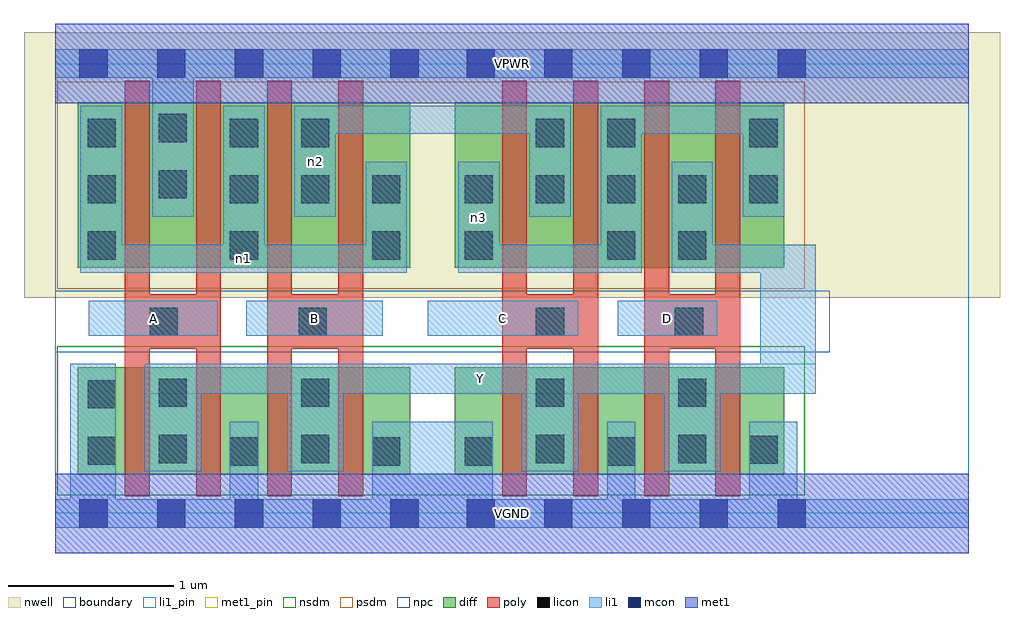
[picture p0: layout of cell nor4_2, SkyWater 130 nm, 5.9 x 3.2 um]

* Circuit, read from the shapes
.subckt nor4_2 A B C D VGND VPWR Y n1 n2 n3
XM1 Y A VGND VSUBS sky130_fd_pr__nfet_01v8 w=0.65 l=0.15 m=2
XM2 Y B VGND VSUBS sky130_fd_pr__nfet_01v8 w=0.65 l=0.15 m=2
XM3 Y C VGND VSUBS sky130_fd_pr__nfet_01v8 w=0.65 l=0.15 m=2
XM4 Y D VGND VSUBS sky130_fd_pr__nfet_01v8 w=0.65 l=0.15 m=2
XM5 VPWR A n1 n4 sky130_fd_pr__pfet_01v8 w=1 l=0.15 m=2
XM6 n2 B n1 n4 sky130_fd_pr__pfet_01v8 w=1 l=0.15 m=2
XM7 n2 C n3 n4 sky130_fd_pr__pfet_01v8 w=1 l=0.15 m=2
XM8 Y D n3 n4 sky130_fd_pr__pfet_01v8 w=1 l=0.15 m=2
.ends

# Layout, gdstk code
import gdstk
lib = gdstk.Library(unit=1e-6, precision=1e-09)
def R(c, l, rs):  # rectangles x0, y0, x1, y1
    for r in rs: c.add(gdstk.rectangle(r[:2], r[2:], *l))
def A(c, l, x, y, w, h, nx, ny, dx, dy):  # array of equal rectangles
    R(c, l, [(x+i*dx, y+j*dy, x+i*dx+w, y+j*dy+h) for i in range(nx) for j in range(ny)])
nwell = (64, 20)
diff = (65, 20)
poly = (66, 20)
licon = (66, 44)
li1_pin = (67, 16)
li1 = (67, 20)
mcon = (67, 44)
met1_pin = (68, 16)
met1 = (68, 20)
nsdm = (93, 44)
psdm = (94, 20)
npc = (95, 20)
boundary = (235, 4)

nor4_2 = lib.new_cell('nor4_2')
R(nor4_2, nwell, [(-0.19,1.305,5.71,2.91), (0,1.305,5.52,2.91)])
R(nor4_2, diff, [(0.135,0.235,2.145,0.885), (2.415,0.235,4.405,0.885), (0.135,1.485,2.145,2.485), (2.415,1.485,4.405,2.485)])
A(nor4_2, poly, 0.42, 0.105, 0.15, 2.51, 4, 1, 0.43, 0)
A(nor4_2, poly, 2.7, 0.105, 0.15, 2.51, 4, 1, 0.43, 0)
R(nor4_2, poly, [(0.42,0.995,1,1.325), (1.28,0.995,1.86,1.325), (2.7,0.995,3.28,1.325), (3.56,0.995,4.14,1.325)])
A(nor4_2, licon, 0.195, 1.535, 0.17, 0.17, 3, 1, 0.86, 0)
A(nor4_2, licon, 1.055, 1.875, 0.17, 0.17, 3, 1, 0.43, 0)
A(nor4_2, licon, 2.475, 1.875, 0.17, 0.17, 5, 1, 0.43, 0)
R(nor4_2, licon, [(1.055,0.29,1.225,0.46), (1.915,0.29,2.085,0.46), (2.475,0.29,2.645,0.46), (3.335,0.29,3.505,0.46), (0.195,0.295,0.365,0.465), (4.195,0.3,4.365,0.47), (0.625,0.305,0.795,0.475), (1.485,0.305,1.655,0.475), (2.905,0.305,3.075,0.475), (3.765,0.305,3.935,0.475), (0.195,0.635,0.365,0.805), (0.625,0.645,0.795,0.815), (1.485,0.645,1.655,0.815), (2.905,0.645,3.075,0.815), (3.765,0.645,3.935,0.815), (0.57,1.075,0.74,1.245), (1.47,1.075,1.64,1.245), (2.905,1.075,3.075,1.245), (3.745,1.075,3.915,1.245), (2.475,1.535,2.645,1.705), (3.335,1.535,3.505,1.705), (3.765,1.535,3.935,1.705), (0.195,1.875,0.365,2.045), (0.625,1.905,0.795,2.075), (0.195,2.215,0.365,2.385), (1.055,2.215,1.225,2.385), (1.485,2.215,1.655,2.385), (2.905,2.215,3.075,2.385), (3.335,2.215,3.505,2.385), (4.195,2.215,4.365,2.385), (0.625,2.245,0.795,2.415)])
R(nor4_2, li1_pin, [(0.54,0.725,4.595,0.905), (0.2,1.075,0.98,1.285), (1.155,1.075,1.98,1.285), (2.25,1.075,3.16,1.285), (3.4,1.075,4,1.285)])
R(nor4_2, li1, [(0,-0.085,5.52,0.085), (0.09,-0.085,0.365,0.905), (1.055,-0.085,1.225,0.555), (1.915,-0.085,2.645,0.555), (3.335,-0.085,3.505,0.555), (4.195,-0.085,4.485,0.555), (0.54,0.255,0.88,0.905), (1.4,0.255,1.74,0.905), (2.82,0.255,3.16,0.905), (3.68,0.255,4.02,0.905), (0.54,0.725,4.595,0.905), (4.26,0.725,4.595,1.625), (0.2,1.075,0.98,1.285), (1.155,1.075,1.98,1.285), (2.25,1.075,3.16,1.285), (3.4,1.075,4,1.285), (0.15,1.455,2.125,1.625), (0.15,1.455,0.405,2.465), (1.015,1.455,1.265,2.465), (1.875,1.455,2.125,2.125), (2.435,1.455,2.685,2.125), (2.435,1.455,3.545,1.625), (3.295,1.455,3.545,2.465), (3.725,1.455,3.975,2.125), (3.725,1.455,4.595,1.625), (0.585,1.795,0.835,2.805), (1.445,1.795,1.695,2.465), (2.865,1.795,3.115,2.465), (4.155,1.795,4.405,2.465), (1.445,2.295,3.115,2.465), (3.295,2.295,4.405,2.465), (0,2.635,5.52,2.805)])
A(nor4_2, mcon, 0.145, -0.085, 0.17, 0.17, 5, 2, 0.47, 2.72)
A(nor4_2, mcon, 2.485, -0.085, 0.17, 0.17, 5, 2, 0.47, 2.72)
R(nor4_2, met1_pin, [(0,-0.24,5.52,0.24), (0,2.48,5.52,2.96)])
R(nor4_2, met1, [(0,-0.24,5.52,0.24), (0,2.48,5.52,2.96)])
R(nor4_2, nsdm, [(0.01,0.11,4.53,1.01)])
R(nor4_2, psdm, [(0.01,1.36,4.53,2.61)])
R(nor4_2, npc, [(0,0.975,4.68,1.345)])
R(nor4_2, boundary, [(0,0,5.52,2.72)])
nor4_2.add(gdstk.Label('A', (0.59,1.18), layer=67, texttype=5))
nor4_2.add(gdstk.Label('B', (1.567,1.18), layer=67, texttype=5))
nor4_2.add(gdstk.Label('C', (2.705,1.18), layer=67, texttype=5))
nor4_2.add(gdstk.Label('D', (3.7,1.18), layer=67, texttype=5))
nor4_2.add(gdstk.Label('Y', (2.567,0.815), layer=67, texttype=5))
nor4_2.add(gdstk.Label('n1', (1.137,1.54), layer=67, texttype=5))
nor4_2.add(gdstk.Label('n2', (1.57,2.13), layer=67, texttype=5))
nor4_2.add(gdstk.Label('n3', (2.56,1.79), layer=67, texttype=5))
nor4_2.add(gdstk.Label('VPWR', (2.76,2.72), layer=68, texttype=5))
nor4_2.add(gdstk.Label('VGND', (2.76,0), layer=68, texttype=5))
nor4_2.add(gdstk.Label('A', (0.59,1.18), layer=67, texttype=16))
nor4_2.add(gdstk.Label('B', (1.567,1.18), layer=67, texttype=16))
nor4_2.add(gdstk.Label('C', (2.705,1.18), layer=67, texttype=16))
nor4_2.add(gdstk.Label('D', (3.7,1.18), layer=67, texttype=16))
nor4_2.add(gdstk.Label('Y', (2.567,0.815), layer=67, texttype=16))
nor4_2.add(gdstk.Label('VPWR', (2.76,2.72), layer=68, texttype=16))
nor4_2.add(gdstk.Label('VGND', (2.76,0), layer=68, texttype=16))

lib.write_gds('nor4_2.gds')
